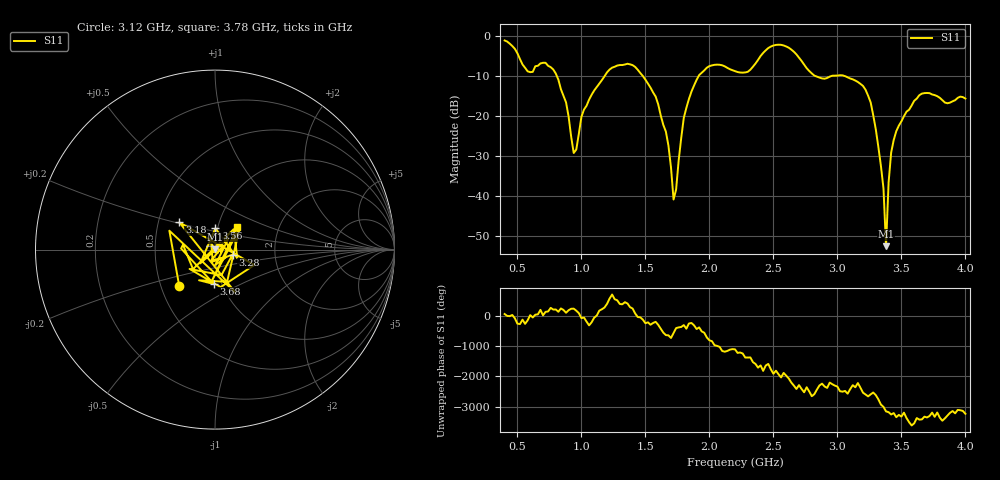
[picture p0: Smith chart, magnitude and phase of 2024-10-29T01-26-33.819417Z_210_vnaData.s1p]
!Created with skrf (http://scikit-rf.org).
# Hz S RI R 50.0
!freq ReS11 ImS11
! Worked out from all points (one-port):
!   181 points, 400 MHz to 4 GHz, reference 50 ohm
!   lowest |S11| = -52.5 dB at 3.38 GHz (marker M1), VSWR 1.00, Z = 50 + j0.234 ohm
!   |S11| at or under -10 dB: 807 MHz to 1.183 GHz (376.2 MHz wide, 37.8 % of centre); 1.478 GHz to 1.917 GHz (439.3 MHz wide, 25.9 % of centre); 3.05 GHz to end of sweep (the widest 3 of 4)
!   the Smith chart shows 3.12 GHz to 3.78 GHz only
!   S11 on the Smith chart (normalised r, x): 3.12 GHz: 0.62, -0.28; 3.18 GHz: 0.64, +0.21; 3.28 GHz: 1.21, -0.07; 3.56 GHz: 0.98, +0.24; 3.68 GHz: 0.92, -0.37; 3.78 GHz: 1.24, +0.32
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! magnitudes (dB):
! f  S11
! 400 MHz  -1.2
! 580 MHz  -8.9
! 780 MHz  -8.4
! 860 MHz  -15.0
! 940 MHz  -29.3
! 1.08 GHz  -14.7
! 1.3 GHz  -7.3
! 1.58 GHz  -15.2
! 1.68 GHz  -27.4
! 1.72 GHz  -40.9
! 1.76 GHz  -31.1
! 1.8 GHz  -20.5
! 1.92 GHz  -9.8
! 2.2 GHz  -8.8
! 2.66 GHz  -4.0
! 2.82 GHz  -10.0
! 3.1 GHz  -10.7
! 3.12 GHz  -10.9
! 3.18 GHz  -12.0
! 3.28 GHz  -19.9
! 3.36 GHz  -38.1
! 3.38 GHz  -52.5
! 3.4 GHz  -36.6
! 3.42 GHz  -29.2
! 3.56 GHz  -18.5
! 3.68 GHz  -14.3
! 3.78 GHz  -15.1
! 4 GHz  -15.7
